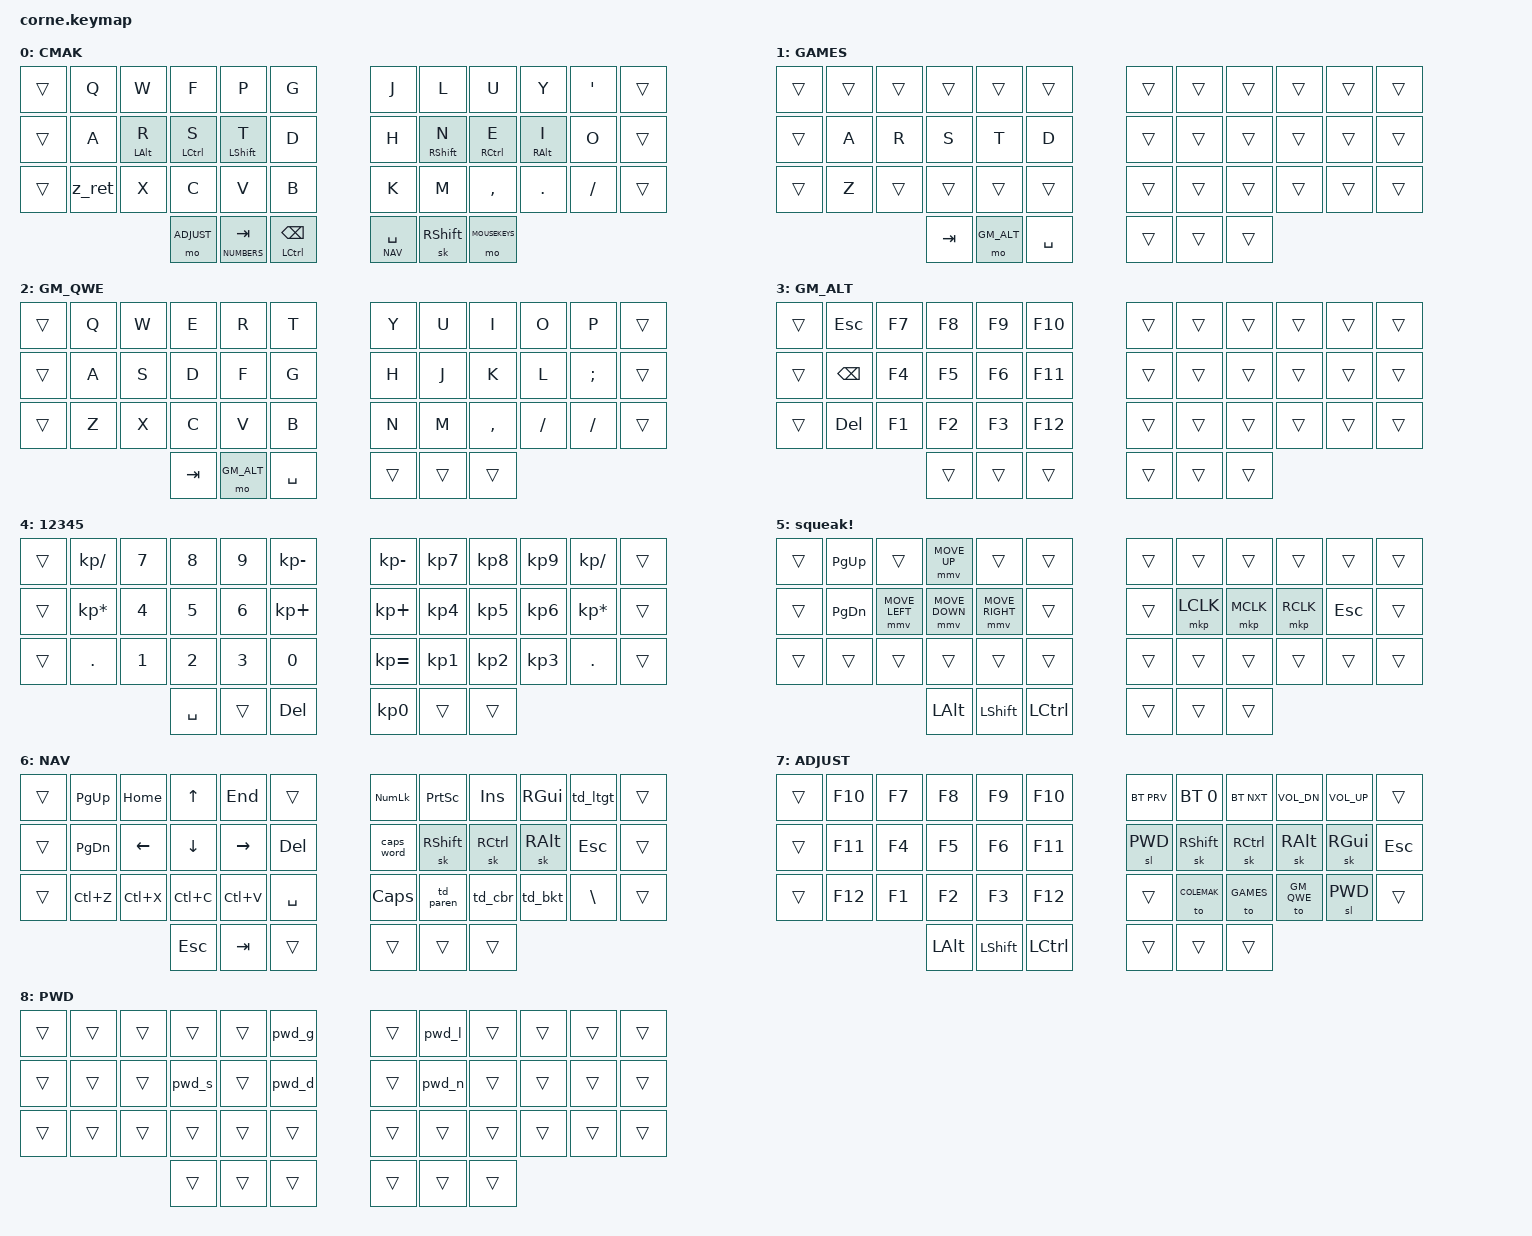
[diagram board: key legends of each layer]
/*
 * Copyright (c) 2020 The ZMK Contributors
 *
 * SPDX-License-Identifier: MIT
 */

#include <behaviors.dtsi>
#include <dt-bindings/zmk/keys.h>
#include <dt-bindings/zmk/bt.h>
#include <dt-bindings/zmk/ext_power.h>
#include <dt-bindings/zmk/mouse.h>
#include <dt-bindings/zmk/pointing.h>

#include "../zmk-nodefree-config/helper.h"
#include "../zmk-nodefree-config/keypos_def/keypos_42keys.h"  
#include "../private/passwords.h"



#define COLEMAK   0
#define GAMES  1
#define GM_QWE 2
#define GM_ALT 3
#define NUMBERS  4
#define MOUSEKEYS  5 
#define NAV   6
#define ADJUST 7
#define PWD 8

#define QUICK_TAP_MS 175


&mt {
    flavor = "tap-preferred";
    tapping-term-ms = <220>;
    quick-tap-ms = <220>;              // repeat on tap-into-hold
    hold-trigger-key-positions = <0>;  // tap on interrupt
};
&sk {  // sticky-key config
    release-after-ms = <600>;  // release after 0.6s
    quick-release;             // no double capitalization when rolling keys
};

&sl {  // sticky-layer config
    ignore-modifiers;
};

&lt {  // layer-tap config
    flavor = "balanced";
    tapping-term-ms = <200>;
    quick-tap-ms = <QUICK_TAP_MS>;
};

&caps_word {  // mods deactivate caps-word, requires PR #1441
    /delete-property/ ignore-modifiers;
};


/* Homerow mods */

#define KEYS_L LT0 LT1 LT2 LT3 LT4 LT5 LM0 LM1 LM2 LM3 LM4 LM5 LB0 LB1 LB2 LB3 LB4 LB5  // left-hand keys
#define KEYS_R RT0 RT1 RT2 RT3 RT4 RT5 RM0 RM1 RM2 RM3 RM4 RM5 RB0 RB1 RB2 RB3 RB4 RB5  // right-hand keys
#define THUMBS LH2 LH1 LH0 RH0 RH1 RH2                                      // thumb keys

ZMK_BEHAVIOR(hml, hold_tap,
    flavor = "balanced";
    tapping-term-ms = <280>;
    quick-tap-ms = <QUICK_TAP_MS>;
    //global-quick-tap-ms = <150>;        // requires PR #1387
    bindings = <&kp>, <&kp>;
    hold-trigger-key-positions = <KEYS_R THUMBS>;
    hold-trigger-on-release;            // requires PR #1423
)

ZMK_BEHAVIOR(hmr, hold_tap,  // right-hand HRMs
    flavor = "balanced";
    tapping-term-ms = <280>;
    quick-tap-ms = <QUICK_TAP_MS>;
    //global-quick-tap-ms = <150>;        // requires PR #1387
    bindings = <&kp>, <&kp>;
    hold-trigger-key-positions = <KEYS_L THUMBS>;
    hold-trigger-on-release;            // requires PR #1423
)

ZMK_BEHAVIOR(ss_cw, mod_morph,
    bindings = <&sk RSHFT>, <&caps_word>;
    mods = <(MOD_LSFT)>;
)

// use global-quick-tap-ms for combos (requires PR 1387)
//#undef COMBO_HOOK
//#define COMBO_HOOK global-quick-tap-ms = <75>;

#define COMBO_TERM_FAST 20
#define COMBO_TERM_SLOW 35
/* Brackets (horizontal right hand) */
ZMK_COMBO(dcbr,  &dbl_cbr,      RT0 RT1,     COLEMAK  NUMBERS, COMBO_TERM_FAST)
ZMK_COMBO(dpar,  &dbl_paren,    RM0 RM1,     COLEMAK  NUMBERS, COMBO_TERM_FAST)
ZMK_COMBO(dbkt,  &dbl_bkt,      RB0 RB1,     COLEMAK  NUMBERS, COMBO_TERM_FAST)
ZMK_COMBO(dlt,  &dbl_ltgt,      RB2 RB3,     COLEMAK , COMBO_TERM_FAST)

/* Other symbols (vertical combos) */
ZMK_COMBO(exclm, &kp EXCL,      LT4 LM4,     COLEMAK   , COMBO_TERM_SLOW)
ZMK_COMBO(at,    &kp AT,        LT3 LM3,     COLEMAK   , COMBO_TERM_SLOW)
ZMK_COMBO(hash,  &kp HASH,      LT2 LM2,     COLEMAK   , COMBO_TERM_SLOW)
ZMK_COMBO(dllr,  &kp DLLR,      LT1 LM1,     COLEMAK   , COMBO_TERM_SLOW)
ZMK_COMBO(prcnt, &kp PRCNT,     LT0 LM0,     COLEMAK   , COMBO_TERM_SLOW)

ZMK_COMBO(caret, &kp CARET,     RT0 RM0,     COLEMAK   , COMBO_TERM_SLOW)
ZMK_COMBO(amps,  &kp AMPS,      RT1 RM1,     COLEMAK   , COMBO_TERM_SLOW)
ZMK_COMBO(star,  &kp STAR,      RT2 RM2,     COLEMAK   , COMBO_TERM_SLOW)

ZMK_COMBO(tilde, &kp TILDE,     LM4 LB4,     COLEMAK   , COMBO_TERM_SLOW)
ZMK_COMBO(grave, &kp GRAVE,     LM3 LB3,     COLEMAK   , COMBO_TERM_SLOW)
ZMK_COMBO(under, &kp UNDER,     LM2 LB2,     COLEMAK   , COMBO_TERM_SLOW)
ZMK_COMBO(minus, &kp MINUS,     LM1 LB1,     COLEMAK   , COMBO_TERM_SLOW)
ZMK_COMBO(plus, &kp PLUS,       LM0 LB0,     COLEMAK   , COMBO_TERM_SLOW)

ZMK_COMBO(pipe,  &kp PIPE,      RM0 RB0,     COLEMAK   , COMBO_TERM_SLOW)
ZMK_COMBO(equal, &kp EQUAL,     RM1 RB1,     COLEMAK   , COMBO_TERM_SLOW)
ZMK_COMBO(lt, &kp RS(SEMI),     RM2 RB2,     COLEMAK   , COMBO_TERM_SLOW)
ZMK_COMBO(gt, &kp SEMI,         RM3 RB3,     COLEMAK   , COMBO_TERM_SLOW)

ZMK_COMBO(squot,  &kp SQT, RM3 RT3,     COLEMAK   , COMBO_TERM_SLOW)
ZMK_COMBO(dquot,  &kp RS(SQT), RM4 RT4,     COLEMAK   , COMBO_TERM_SLOW)
//ZMK_COMBO(scln_ent,  &scln_ret, RM4 RB4,     COLEMAK   , COMBO_TERM_SLOW)
ZMK_COMBO(nav_ret2,  &kp RET, RH0 RM4,    COLEMAK  NUMBERS  NAV  GAMES, COMBO_TERM_SLOW)
ZMK_COMBO(bkspc_ret,  &kp RET, LH0 LM4,    COLEMAK   GAMES GM_QWE, COMBO_TERM_SLOW)
ZMK_COMBO(rh_adj,  &mo ADJUST, RH0 RH1,    COLEMAK   GAMES GM_QWE NAV, COMBO_TERM_FAST)
ZMK_COMBO(games_num,  &mo NUMBERS, LH0 LH1,    GAMES GM_QWE, COMBO_TERM_FAST)
ZMK_COMBO(lh_del,  &kp DEL, LH0 LH1,    COLEMAK  NAV  GAMES GM_QWE, COMBO_TERM_FAST)
ZMK_COMBO(cw_trigger,  &caps_word, RH1 RM1,    COLEMAK   , COMBO_TERM_FAST)
ZMK_COMBO(bt_clear,  &bt BT_CLR, RT0 RT1 RT2,    ADJUST, COMBO_TERM_FAST)
//ZMK_COMBO(panic_colemak,  &to COLEMAK, RT3 RT4,    ADJUST, COMBO_TERM_FAST)


/ {
    behaviors {

        hhm: hold_homerow_mods {
            compatible = "zmk,behavior-hold-tap";
            
            #binding-cells = <2>;
            tapping-term-ms = <200>;
            quick_tap_ms = <150>;
            flavor = "hold-preferred";
            bindings = <&kp>, <&kp>;
        };
        
        TAB_NUMBERS: tap_dance_0 {
            compatible = "zmk,behavior-tap-dance";
            
            #binding-cells = <0>;
            tapping-term-ms = <200>;
            bindings = <&mo NUMBERS>, <&kp TAB>;
        };
        
        

        tm: thumb_mods {
            compatible = "zmk,behavior-hold-tap";
            
            #binding-cells = <2>;
            tapping-term-ms = <150>;
            quick-tap-ms = <150>;
            flavor = "tap-preferred";
            bindings = <&mo>, <&kp>;
        };
        /*
        scln_ent: tap_dance_8 {
            compatible = "zmk,behavior-tap-dance";
            
            #binding-cells = <0>;
            tapping-term-ms = <200>;
            bindings = <&kp SEMI>, <&scln_ret>;
        };
        */
        z_ret: tap_dance_9 {
            compatible = "zmk,behavior-tap-dance";
            
            #binding-cells = <0>;
            tapping-term-ms = <200>;
            bindings = <&kp Z>, <&kp RET>;
        };

        td_paren: tap_dance_10 {
            compatible = "zmk,behavior-tap-dance";
            
            #binding-cells = <0>;
            tapping-term-ms = <200>;
            bindings = <&kp LPAR>, <&kp RPAR>;
        };
        td_cbr: tap_dance_11 {
            compatible = "zmk,behavior-tap-dance";
            
            #binding-cells = <0>;
            tapping-term-ms = <200>;
            bindings = <&kp LBRC>, <&kp RBRC>;
        };
        td_bkt: tap_dance_12 {
            compatible = "zmk,behavior-tap-dance";
            
            #binding-cells = <0>;
            tapping-term-ms = <200>;
            bindings = <&kp LBKT>, <&kp RBKT>;
        };
        td_ltgt: tap_dance_13 {
            compatible = "zmk,behavior-tap-dance";
            
            #binding-cells = <0>;
            tapping-term-ms = <200>;
            bindings = <&kp LT>, <&kp GT>;
        };
    };

    macros {
        
        dbl_paren: dbl_paren {
            
            compatible = "zmk,behavior-macro";
            #binding-cells = <0>;
            bindings
                = 
                <&macro_tap &kp LPAR &kp RPAR &kp LEFT>
                ;
        };
        dbl_cbr: dbl_cbr {
            
            compatible = "zmk,behavior-macro";
            #binding-cells = <0>;
            bindings
                = 
                <&macro_tap &kp LBRC &kp RBRC &kp LEFT>
                ;
        };
        dbl_bkt: dbl_bkt {
            
            compatible = "zmk,behavior-macro";
            #binding-cells = <0>;
            bindings
                = 
                <&macro_tap &kp LBKT &kp RBKT &kp LEFT>
                
                ;
        };
        dbl_ltgt: dbl_ltgt {
            
            compatible = "zmk,behavior-macro";
            #binding-cells = <0>;
            bindings
                = 
                <&macro_tap &kp LT &kp GT &kp LEFT>
                ;
        };
        
    };


        keymap {
                compatible = "zmk,keymap";


no_hmr_layer {
// ┌───────────────────────────────────────────────────────────┐
label= "CMAK"                                                  ;
// └───────────────────────────────────────────────────────────┘                                                 ;

   bindings = <
 //╷         ╷         ╷         ╷         ╷         ╷         ╷         ╷╷         ╷         ╷         ╷         ╷         ╷         ╷         ╷
    &trans &kp Q     &kp W     &kp F     &kp P     &kp G                &kp J     &kp L     &kp U     &kp Y     &kp SQT   &trans   
    &trans &kp A &hml LALT  R   &hml LCTL S  &hml LSHFT T    &kp D       &kp H      &hml RSHFT N  &hml RCTL E   &hml RALT I  &kp O   &trans   
    &trans &z_ret     &kp X     &kp C     &kp V     &kp B                &kp K     &kp M   &kp COMMA  &kp DOT  &kp FSLH  &trans 
                         &mo ADJUST   &lt NUMBERS TAB   &hhm LCTRL BKSP      &tm NAV SPC  &sk RSHFT  &mo MOUSEKEYS 
                        >;
                };

// ▄▄▄▄▄▄▄▄▄▄▄▄▄▄▄▄▄▄▄▄▄▄▄▄▄▄▄▄▄▄▄▄▄▄▄▄▄▄▄▄▄▄▄▄▄▄▄▄▄▄▄▄▄▄▄▄▄▄▄▄▄▄▄▄▄▄▄▄▄▄▄▄▄▄▄▄▄▄▄▄▄▄▄▄▄▄▄▄▄▄▄▄▄▄▄▄▄▄▄▄▄▄▄▄▄▄▄▄▄▄▄▄▄▄▄▄▄▄▄▄▄▄▄▄▄▄▄▄▄▄▄▄▄▄▄▄▄▄▄▄▄▄


                games_layer {
// ┌───────────────────────────────────────────────────────────┐
label= "GAMES"                                                  ;
// └───────────────────────────────────────────────────────────┘

 bindings = <
 //╷         ╷         ╷         ╷         ╷         ╷         ╷         ╷╷         ╷         ╷         ╷         ╷         ╷         ╷         ╷
&trans &trans   &trans   &trans    &trans    &trans                    &trans     &trans     &trans     &trans     &trans &trans 
&trans &kp A   &kp R    &kp S       &kp T    &kp D                      &trans    &trans     &trans     &trans     &trans &trans 
&trans &kp Z   &trans  &trans     &trans     &trans                     &trans     &trans     &trans &trans   &trans &trans 
                           &kp TAB  &mo GM_ALT     &kp SPACE                 &trans   &trans &trans    
                        >;
                };
// ▄▄▄▄▄▄▄▄▄▄▄▄▄▄▄▄▄▄▄▄▄▄▄▄▄▄▄▄▄▄▄▄▄▄▄▄▄▄▄▄▄▄▄▄▄▄▄▄▄▄▄▄▄▄▄▄▄▄▄▄▄▄▄▄▄▄▄▄▄▄▄▄▄▄▄▄▄▄▄▄▄▄▄▄▄▄▄▄▄▄▄▄▄▄▄▄▄▄▄▄▄▄▄▄▄▄▄▄▄▄▄▄▄▄▄▄▄▄▄▄▄▄▄▄▄▄▄▄▄▄▄▄▄▄▄▄▄▄▄▄▄▄

games_qwerty_layer {
// ┌───────────────────────────────────────────────────────────┐
label= "GM_QWE"                                                  ;
// └───────────────────────────────────────────────────────────┘

 bindings = <
 //╷         ╷         ╷         ╷         ╷         ╷         ╷         ╷╷         ╷         ╷         ╷         ╷         ╷         ╷         ╷
&trans &kp Q   &kp W   &kp E    &kp R    &kp T                    &kp Y     &kp U     &kp I     &kp O     &kp P &trans 
&trans &kp A   &kp S   &kp D    &kp F    &kp G                      &kp H &kp  J &kp  K  &kp  L  &kp  SEMI &trans 
&trans &kp Z   &kp X  &kp C     &kp V     &kp B                     &kp N     &kp M     &kp COMMA &kp FSLH   &kp FSLH &trans 
                          &kp TAB   &mo GM_ALT      &kp SPACE                 &trans   &trans &trans    
                        >;
                };
// ▄▄▄▄▄▄▄▄▄▄▄▄▄▄▄▄▄▄▄▄▄▄▄▄▄▄▄▄▄▄▄▄▄▄▄▄▄▄▄▄▄▄▄▄▄▄▄▄▄▄▄▄▄▄▄▄▄▄▄▄▄▄▄▄▄▄▄▄▄▄▄▄▄▄▄▄▄▄▄▄▄▄▄▄▄▄▄▄▄▄▄▄▄▄▄▄▄▄▄▄▄▄▄▄▄▄▄▄▄▄▄▄▄▄▄▄▄▄▄▄▄▄▄▄▄▄▄▄▄▄▄▄▄▄▄▄▄▄▄▄▄▄

                games_alt_layer {
// ┌───────────────────────────────────────────────────────────┐
label= "GM_ALT"                                                  ;
// └───────────────────────────────────────────────────────────┘

 bindings = <
 //╷         ╷         ╷         ╷         ╷         ╷         ╷         ╷╷         ╷         ╷         ╷         ╷         ╷         ╷         ╷
&trans &kp ESC      &kp F7   &kp F8   &kp F9     &kp F10                     &trans     &trans     &trans     &trans     &trans &trans 
&trans &kp BKSP      &kp F4   &kp F5   &kp F6     &kp F11                        &trans    &trans     &trans     &trans     &trans &trans 
&trans &kp DEL    &kp F1   &kp F2   &kp F3     &kp F12                     &trans     &trans     &trans &trans   &trans &trans 
                            &trans   &trans   &trans                 &trans   &trans &trans    
                        >;
                };
// ▄▄▄▄▄▄▄▄▄▄▄▄▄▄▄▄▄▄▄▄▄▄▄▄▄▄▄▄▄▄▄▄▄▄▄▄▄▄▄▄▄▄▄▄▄▄▄▄▄▄▄▄▄▄▄▄▄▄▄▄▄▄▄▄▄▄▄▄▄▄▄▄▄▄▄▄▄▄▄▄▄▄▄▄▄▄▄▄▄▄▄▄▄▄▄▄▄▄▄▄▄▄▄▄▄▄▄▄▄▄▄▄▄▄▄▄▄▄▄▄▄▄▄▄▄▄▄▄▄▄▄▄▄▄▄▄▄▄▄▄▄▄
                number_layer {
// ┌───────────────────────────────────────────────────────────┐
label= "12345"                                                 ;
// └───────────────────────────────────────────────────────────┘
 bindings = <
 //╷         ╷         ╷         ╷         ╷         ╷         ╷         ╷╷         ╷         ╷         ╷         ╷         ╷         ╷         ╷
 &trans   &kp KP_DIVIDE &kp N7 &kp N8 &kp N9  &kp KP_MINUS       &kp KP_MINUS  &kp KP_N7 &kp KP_N8 &kp KP_N9 &kp KP_DIVIDE &trans 
 &trans   &kp KP_MULTIPLY    &kp N4 &kp N5 &kp N6 &kp KP_PLUS    &kp KP_PLUS  &kp KP_N4 &kp KP_N5 &kp KP_N6 &kp KP_MULTIPLY &trans 
 &trans   &kp DOT   &kp N1 &kp N2 &kp N3 &kp N0            &kp KP_EQUAL  &kp KP_N1 &kp KP_N2 &kp KP_N3 &kp DOT &trans 
                                  &kp SPC  &trans &kp DEL          &kp KP_N0 &trans &trans  
                        >;
                };

// ▄▄▄▄▄▄▄▄▄▄▄▄▄▄▄▄▄▄▄▄▄▄▄▄▄▄▄▄▄▄▄▄▄▄▄▄▄▄▄▄▄▄▄▄▄▄▄▄▄▄▄▄▄▄▄▄▄▄▄▄▄▄▄▄▄▄▄▄▄▄▄▄▄▄▄▄▄▄▄▄▄▄▄▄▄▄▄▄▄▄▄▄▄▄▄▄▄▄▄▄▄▄▄▄▄▄▄▄▄▄▄▄▄▄▄▄▄▄▄▄▄▄▄▄▄


                mouse_layer {
// ┌───────────────────────────────────────────────────────────┐
label= "squeak!"                                                 ;
// └───────────────────────────────────────────────────────────┘
 bindings = <
 //╷         ╷         ╷         ╷         ╷         ╷         ╷         ╷╷         ╷         ╷         ╷         ╷         ╷         ╷         ╷
 &trans   &kp PG_UP &trans  &mmv MOVE_UP     &trans  &trans               &trans   &trans   &trans  &trans  &trans   &trans 
 &trans &kp PG_DN  &mmv MOVE_LEFT &mmv MOVE_DOWN &mmv MOVE_RIGHT &trans   &trans   &mkp  LCLK   &mkp  MCLK &mkp  RCLK  &kp ESC  &trans 
 &trans    &trans   &trans   &trans  &trans  &trans                     &trans   &trans   &trans  &trans  &trans   &trans 
                            &kp LALT   &kp LSHFT   &kp LCTRL            &trans   &trans   &trans 
                        >;
                };

// ▄▄▄▄▄▄▄▄▄▄▄▄▄▄▄▄▄▄▄▄▄▄▄▄▄▄▄▄▄▄▄▄▄▄▄▄▄▄▄▄▄▄▄▄▄▄▄▄▄▄▄▄▄▄▄▄▄▄▄▄▄▄▄▄▄▄▄▄▄▄▄▄▄▄▄▄▄▄▄▄▄▄▄▄▄▄▄▄▄▄▄▄▄▄▄▄▄▄▄▄▄▄▄▄▄▄▄▄▄▄▄▄▄▄▄▄▄▄▄▄▄▄▄▄▄

                nav_layer {
// ┌───────────────────────────────────────────────────────────┐
label= "NAV"                                                 ;
// └───────────────────────────────────────────────────────────┘
 bindings = <
 //╷         ╷         ╷         ╷         ╷         ╷         ╷         ╷╷         ╷         ╷         ╷         ╷         ╷         ╷         ╷
   &trans  &kp PG_UP    &kp HOME    &kp UP    &kp END    &trans                         &kp KP_NUM    &kp PSCRN    &kp INSERT &kp RGUI &td_ltgt   &trans 
   &trans  &kp PG_DN    &kp LEFT &kp DOWN  &kp RIGHT    &kp DEL                         &caps_word    &sk RSHFT  &sk RCTL    &sk RALT  &kp ESC     &trans 
   &trans     &kp LC(Z)  &kp LC(X)  &kp LC(C)  &kp LC(V)   &kp SPACE                     &kp CAPS    &td_paren    &td_cbr    &td_bkt    &kp BSLH   &trans 
                                  &kp ESC &kp TAB   &trans                           &trans    &trans    &trans  
                        >;
                };

// ▄▄▄▄▄▄▄▄▄▄▄▄▄▄▄▄▄▄▄▄▄▄▄▄▄▄▄▄▄▄▄▄▄▄▄▄▄▄▄▄▄▄▄▄▄▄▄▄▄▄▄▄▄▄▄▄▄▄▄▄▄▄▄▄▄▄▄▄▄▄▄▄▄▄▄▄▄▄▄▄▄▄▄▄▄▄▄▄▄▄▄▄▄▄▄▄▄▄▄▄▄▄▄▄▄▄▄▄▄▄▄▄▄▄▄▄▄▄▄▄▄▄▄▄▄
                adjust_layer {
// ┌───────────────────────────────────────────────────────────┐
label= "ADJUST"                                                ;
// └───────────────────────────────────────────────────────────┘
 bindings = <
 //╷         ╷         ╷         ╷         ╷         ╷         ╷         ╷╷         ╷         ╷         ╷         ╷         ╷         ╷         ╷
&trans &kp F10 &kp F7   &kp F8 &kp F9      &kp F10                           &bt BT_PRV  &bt BT_SEL 0 &bt BT_NXT  &kp  C_VOL_DN   &kp C_VOL_UP &trans 
&trans &kp F11   &kp F4 &kp F5    &kp F6        &kp F11                      &sl PWD    &sk RSHFT &sk RCTL  &sk RALT   &sk RGUI   &kp ESC  
&trans  &kp F12 &kp F1    &kp F2   &kp F3       &kp F12                     &trans    &to COLEMAK   &to GAMES  &to GM_QWE  &sl PWD    &trans 
                            &kp LALT   &kp LSHFT   &kp LCTL                &trans    &trans    &trans    
                        >;
                };
// ▄▄▄▄▄▄▄▄▄▄▄▄▄▄▄▄▄▄▄▄▄▄▄▄▄▄▄▄▄▄▄▄▄▄▄▄▄▄▄▄▄▄▄▄▄▄▄▄▄▄▄▄▄▄▄▄▄▄▄▄▄▄▄▄▄▄▄▄▄▄▄▄▄▄▄▄▄▄▄▄▄▄▄▄▄▄▄▄▄▄▄▄▄▄▄▄▄▄▄▄▄▄▄▄▄▄▄▄▄▄▄▄▄▄▄▄▄▄▄▄▄▄▄▄▄
                pwd_layer {
// ┌───────────────────────────────────────────────────────────┐
label= "PWD"                                                ;
// └───────────────────────────────────────────────────────────┘
 bindings = <
 //╷         ╷         ╷         ╷         ╷         ╷         ╷         ╷╷         ╷         ╷         ╷         ╷         ╷         ╷         ╷
&trans &trans   &trans   &trans  &trans     &pwd_g                     &trans     &pwd_l    &trans     &trans     &trans &trans 
&trans   &trans   &trans &pwd_s     &trans  &pwd_d                      &trans    &pwd_n     &trans     &trans     &trans &trans 
&trans   &trans   &trans   &trans   &trans     &trans                     &trans     &trans     &trans &trans   &trans &trans 
                            &trans   &trans   &trans                 &trans   &trans &trans                         
                            >;
                };
        };
};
